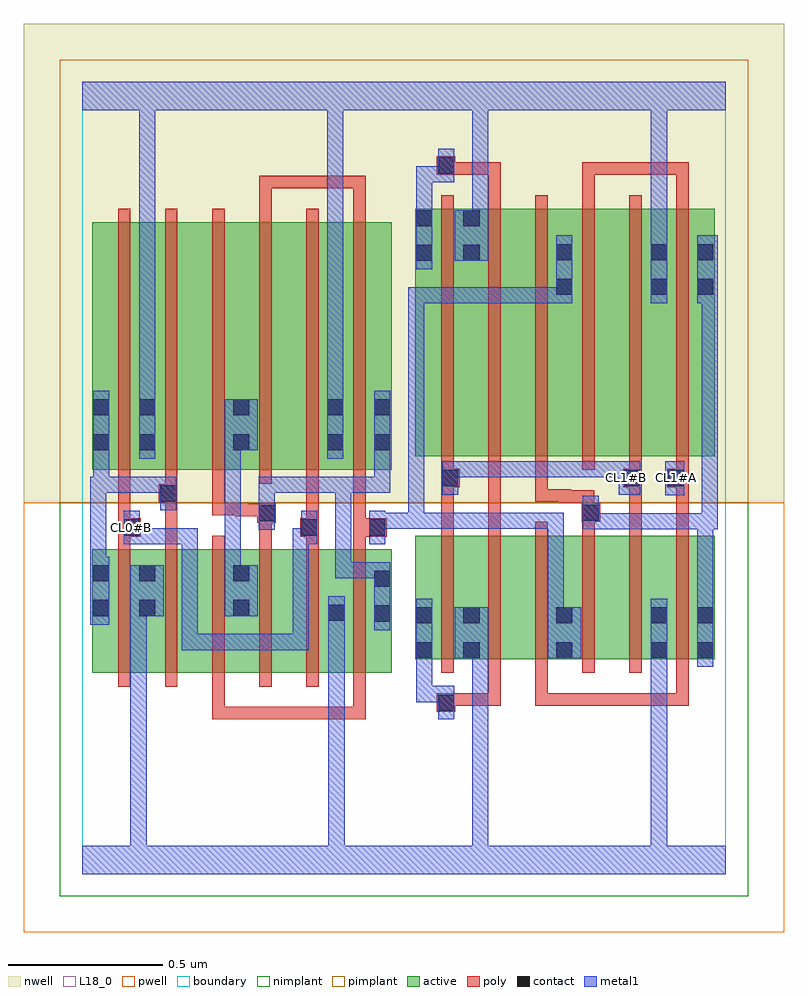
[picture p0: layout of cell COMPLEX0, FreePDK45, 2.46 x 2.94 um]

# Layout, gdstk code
import gdstk
lib = gdstk.Library(unit=1e-6, precision=1e-09)
def R(c, l, rs):  # rectangles x0, y0, x1, y1
    for r in rs: c.add(gdstk.rectangle(r[:2], r[2:], *l))
def A(c, l, x, y, w, h, nx, ny, dx, dy):  # array of equal rectangles
    R(c, l, [(x+i*dx, y+j*dy, x+i*dx+w, y+j*dy+h) for i in range(nx) for j in range(ny)])
active = (1, 0)
pwell = (2, 0)
nwell = (3, 0)
nimplant = (4, 0)
pimplant = (5, 0)
poly = (9, 0)
contact = (10, 0)
metal1 = (11, 0)
L18_0 = (18, 0)
boundary = (235, 0)

complex0 = lib.new_cell('COMPLEX0')
R(complex0, active, [(0.032,0.65,0.092,1.05), (0.032,0.65,0.24,1.05), (0.18,0.65,0.24,1.05), (0.18,0.65,0.364,1.05), (0.364,0.65,0.544,1.05), (0.484,0.65,0.544,1.05), (0.484,0.65,0.668,1.05), (0.668,0.65,0.852,1.05), (0.792,0.65,0.852,1.05), (0.792,0.65,1,1.05), (0.94,0.65,1,1.05), (1.076,0.694,1.136,1.094), (1.076,0.694,1.288,1.094), (1.228,0.694,1.288,0.866), (1.228,0.694,1.408,1.094), (1.408,0.694,1.588,1.094), (1.528,0.694,1.588,1.094), (1.528,0.694,1.712,1.094), (1.712,0.694,1.894,1.094), (1.834,0.694,2.044,1.094), (1.834,0.694,1.894,0.866), (1.984,0.694,2.044,1.094), (0.032,1.306,0.092,2.044), (0.032,1.306,0.24,2.106), (0.18,1.306,0.364,2.106), (0.18,1.306,0.24,2.044), (0.364,1.306,0.544,2.106), (0.484,1.306,0.544,2.106), (0.484,1.306,0.668,2.106), (0.668,1.306,0.848,2.106), (0.788,1.306,1,2.106), (0.788,1.306,0.848,2.044), (0.94,1.306,1,2.106), (1.076,1.35,1.136,2.15), (1.076,1.35,1.288,2.15), (1.228,1.35,1.288,2.15), (1.228,1.35,1.408,2.15), (1.408,1.35,1.588,2.15), (1.528,1.35,1.712,2.15), (1.712,1.35,1.894,2.15), (1.834,1.35,1.894,2.15), (1.834,1.35,2.044,2.15), (1.984,1.35,2.044,2.15), (1.528,1.686,1.588,2.15)])
R(complex0, pwell, [(-0.188,-0.188,2.268,1.2)])
R(complex0, nwell, [(-0.188,1.2,2.268,2.748)])
R(complex0, nimplant, [(-0.072,-0.072,2.152,1.2)])
R(complex0, pimplant, [(-0.072,1.2,2.152,2.632)])
A(complex0, poly, 0.116, 0.606, 0.04, 0.488, 6, 1, 0.152, 0)
A(complex0, poly, 1.16, 0.65, 0.04, 0.488, 6, 1, 0.152, 0)
A(complex0, poly, 0.116, 1.262, 0.04, 0.888, 6, 1, 0.152, 0)
A(complex0, poly, 1.16, 1.306, 0.04, 0.888, 6, 1, 0.152, 0)
A(complex0, poly, 1.312, 2.154, 0.04, 0.146, 3, 1, 0.304, 0)
R(complex0, poly, [(0.42,0.5,0.46,0.646), (0.42,0.5,0.46,0.54), (0.42,0.5,0.46,0.54), (0.42,0.5,0.46,0.54), (0.42,0.5,0.638,0.54), (0.598,0.5,0.638,0.54), (0.598,0.5,0.744,0.54), (0.704,0.5,0.744,0.54), (0.704,0.5,0.744,0.54), (0.704,0.5,0.744,0.54), (0.704,0.5,0.916,0.54), (0.876,0.5,0.916,0.646), (0.876,0.5,0.916,0.54), (0.876,0.5,0.916,0.54), (0.876,0.5,0.916,0.54), (1.146,0.524,1.206,0.584), (1.166,0.544,1.206,0.584), (1.166,0.544,1.206,0.584), (1.166,0.544,1.352,0.584), (1.312,0.544,1.352,0.69), (1.312,0.544,1.352,0.584), (1.464,0.544,1.504,0.69), (1.464,0.544,1.504,0.584), (1.464,0.544,1.504,0.584), (1.464,0.544,1.504,0.584), (1.464,0.544,1.682,0.584), (1.642,0.544,1.682,0.584), (1.642,0.544,1.824,0.584), (1.784,0.544,1.824,0.584), (1.784,0.544,1.824,0.584), (1.784,0.544,1.824,0.584), (1.784,0.544,1.96,0.584), (1.92,0.544,1.96,0.69), (1.92,0.544,1.96,0.584), (1.92,0.544,1.96,0.584), (1.92,0.544,1.96,0.584), (0.116,1.054,0.156,1.13), (0.268,1.054,0.308,1.24), (0.572,1.054,0.612,1.176), (0.724,1.054,0.764,1.13), (0.876,1.054,0.916,1.13), (0.116,1.09,0.19,1.15), (0.704,1.09,0.764,1.15), (0.876,1.09,0.984,1.15), (1.16,1.098,1.2,1.29), (1.312,1.098,1.352,1.31), (1.616,1.098,1.656,1.178), (1.768,1.098,1.808,1.29), (1.92,1.098,1.96,1.29), (0.116,1.11,0.156,1.15), (0.116,1.11,0.156,1.15), (0.116,1.11,0.156,1.302), (0.724,1.11,0.764,1.15), (0.724,1.11,0.764,1.15), (0.724,1.11,0.764,1.302), (0.876,1.11,0.916,1.15), (0.876,1.11,0.916,1.15), (0.876,1.11,0.916,1.302), (0.566,1.136,0.626,1.196), (0.572,1.136,0.612,1.176), (0.572,1.136,0.612,1.176), (1.614,1.138,1.674,1.198), (0.496,1.156,0.536,1.2), (0.496,1.156,0.606,1.196), (1.614,1.158,1.654,1.24), (0.42,1.16,0.46,1.2), (0.42,1.16,0.536,1.2), (0.42,1.16,0.46,1.302), (0.248,1.2,0.308,1.26), (0.268,1.2,0.308,1.24), (0.268,1.2,0.308,1.24), (1.54,1.2,1.654,1.24), (1.54,1.2,1.58,1.244), (1.614,1.2,1.654,1.24), (1.464,1.204,1.504,1.244), (1.464,1.204,1.58,1.244), (1.464,1.204,1.504,1.346), (0.268,1.22,0.308,1.302), (1.16,1.25,1.2,1.29), (1.16,1.25,1.2,1.29), (1.16,1.25,1.22,1.31), (1.748,1.25,1.808,1.31), (1.768,1.25,1.808,1.29), (1.768,1.25,1.808,1.29), (1.89,1.25,1.96,1.31), (1.92,1.25,1.96,1.29), (1.92,1.25,1.96,1.29), (1.16,1.27,1.2,1.346), (1.312,1.27,1.352,1.31), (1.312,1.27,1.352,1.31), (1.312,1.27,1.352,1.31), (1.312,1.27,1.352,1.346), (1.768,1.27,1.808,1.346), (1.92,1.27,1.96,1.346), (0.572,2.11,0.612,2.256), (0.876,2.11,0.916,2.256), (0.572,2.216,0.612,2.256), (0.572,2.216,0.81,2.256), (0.77,2.216,0.81,2.256), (0.77,2.216,0.81,2.256), (0.77,2.216,0.81,2.256), (0.77,2.216,0.916,2.256), (0.876,2.216,0.916,2.256), (0.876,2.216,0.916,2.256), (0.876,2.216,0.916,2.256), (1.146,2.26,1.206,2.32), (1.166,2.26,1.206,2.3), (1.166,2.26,1.206,2.3), (1.166,2.26,1.352,2.3), (1.312,2.26,1.352,2.3), (1.616,2.26,1.656,2.3), (1.616,2.26,1.824,2.3), (1.784,2.26,1.824,2.3), (1.784,2.26,1.824,2.3), (1.784,2.26,1.824,2.3), (1.784,2.26,1.96,2.3), (1.92,2.26,1.96,2.3), (1.92,2.26,1.96,2.3), (1.92,2.26,1.96,2.3)])
A(complex0, contact, 0.184, 1.37, 0.052, 0.052, 3, 2, 0.304, 0.112)
R(complex0, contact, [(1.15,0.528,1.202,0.58), (1.08,0.698,1.132,0.75), (1.232,0.698,1.284,0.75), (1.532,0.698,1.584,0.75), (1.838,0.698,1.89,0.75), (1.988,0.698,2.04,0.75), (1.08,0.81,1.132,0.862), (1.232,0.81,1.284,0.862), (1.532,0.81,1.584,0.862), (1.838,0.81,1.89,0.862), (1.988,0.81,2.04,0.862), (0.944,0.816,0.996,0.868), (0.796,0.818,0.848,0.87), (0.036,0.834,0.088,0.886), (0.184,0.834,0.236,0.886), (0.488,0.834,0.54,0.886), (0.944,0.928,0.996,0.98), (0.036,0.946,0.088,0.998), (0.184,0.946,0.236,0.998), (0.488,0.946,0.54,0.998), (0.134,1.094,0.186,1.146), (0.708,1.094,0.76,1.146), (0.928,1.094,0.98,1.146), (0.57,1.14,0.622,1.192), (1.618,1.142,1.67,1.194), (0.252,1.204,0.304,1.256), (1.164,1.254,1.216,1.306), (1.752,1.254,1.804,1.306), (1.894,1.254,1.946,1.306), (0.036,1.37,0.088,1.422), (0.944,1.37,0.996,1.422), (0.036,1.482,0.088,1.534), (0.944,1.482,0.996,1.534), (1.532,1.872,1.584,1.924), (1.838,1.872,1.89,1.924), (1.988,1.872,2.04,1.924), (1.08,1.982,1.132,2.034), (1.232,1.982,1.284,2.034), (1.532,1.984,1.584,2.036), (1.838,1.984,1.89,2.036), (1.988,1.984,2.04,2.036), (1.08,2.094,1.132,2.146), (1.232,2.094,1.284,2.146), (1.15,2.264,1.202,2.316)])
R(complex0, metal1, [(0,0,2.08,0.092), (0.156,0.04,0.208,0.092), (0.156,0.04,0.208,0.092), (0.156,0.04,0.208,0.092), (0.156,0.04,0.208,0.092), (0.156,0.04,0.208,0.092), (0.156,0.04,0.208,0.092), (0.156,0.04,0.208,0.092), (0.156,0.04,0.208,0.092), (0.156,0.04,0.208,0.092), (0.156,0.04,0.208,0.092), (0.156,0.04,0.208,0.092), (0.156,0.04,0.208,0.092), (0.156,0.04,0.208,0.886), (0.796,0.04,0.848,0.092), (0.796,0.04,0.848,0.092), (0.796,0.04,0.848,0.092), (0.796,0.04,0.848,0.092), (0.796,0.04,0.848,0.092), (0.796,0.04,0.848,0.092), (0.796,0.04,0.848,0.092), (0.796,0.04,0.848,0.092), (0.796,0.04,0.848,0.842), (1.26,0.04,1.312,0.092), (1.26,0.04,1.312,0.092), (1.26,0.04,1.312,0.092), (1.26,0.04,1.312,0.092), (1.26,0.04,1.312,0.092), (1.26,0.04,1.312,0.092), (1.26,0.04,1.312,0.092), (1.26,0.04,1.312,0.092), (1.26,0.04,1.312,0.092), (1.26,0.04,1.312,0.092), (1.26,0.04,1.312,0.092), (1.26,0.04,1.312,0.092), (1.26,0.04,1.312,0.75), (1.838,0.04,1.89,0.092), (1.838,0.04,1.89,0.092), (1.838,0.04,1.89,0.092), (1.838,0.04,1.89,0.092), (1.838,0.04,1.89,0.092), (1.838,0.04,1.89,0.092), (1.838,0.04,1.89,0.092), (1.838,0.04,1.89,0.092), (1.838,0.04,1.89,0.092), (1.838,0.04,1.89,0.092), (1.838,0.04,1.89,0.722), (1.15,0.5,1.202,0.608), (1.08,0.556,1.132,0.608), (1.08,0.556,1.202,0.608), (1.08,0.556,1.132,0.722), (1.08,0.67,1.132,0.89), (1.838,0.67,1.89,0.722), (1.838,0.67,1.89,0.722), (1.838,0.67,1.89,0.89), (1.988,0.67,2.04,0.89), (1.204,0.698,1.312,0.862), (1.504,0.698,1.612,0.862), (0.322,0.724,0.374,0.776), (0.322,0.724,0.374,0.776), (0.322,0.724,0.374,0.776), (0.322,0.724,0.484,0.776), (0.322,0.724,0.374,1.118), (0.432,0.724,0.484,0.776), (0.432,0.724,0.484,0.776), (0.432,0.724,0.484,0.776), (0.432,0.724,0.65,0.776), (0.598,0.724,0.65,0.776), (0.598,0.724,0.732,0.776), (0.68,0.724,0.732,0.776), (0.68,0.724,0.732,0.776), (0.68,0.724,0.732,0.776), (0.68,0.724,0.732,1.118), (0.944,0.788,0.996,1.008), (0.796,0.79,0.848,0.842), (0.796,0.79,0.848,0.842), (0.796,0.79,0.848,0.842), (0.796,0.79,0.848,0.842), (0.796,0.79,0.848,0.898), (0.026,0.806,0.088,1.026), (1.504,0.81,1.556,1.168), (0.156,0.834,0.264,0.998), (0.46,0.834,0.568,0.998), (1.988,0.838,2.04,1.166), (0.46,0.946,0.512,1.422), (0.818,0.956,0.87,1.008), (0.818,0.956,0.87,1.008), (0.818,0.956,0.87,1.008), (0.818,0.956,0.87,1.008), (0.818,0.956,0.87,1.008), (0.818,0.956,0.87,1.284), (0.818,0.956,0.996,1.008), (0.026,0.974,0.078,1.026), (0.026,0.974,0.078,1.026), (0.026,0.974,0.078,1.284), (0.134,1.066,0.186,1.174), (0.134,1.066,0.198,1.118), (0.146,1.066,0.198,1.118), (0.146,1.066,0.374,1.118), (0.322,1.066,0.374,1.118), (0.322,1.066,0.374,1.118), (0.322,1.066,0.374,1.118), (0.68,1.066,0.732,1.118), (0.68,1.066,0.76,1.118), (0.708,1.066,0.76,1.174), (0.928,1.066,0.98,1.174), (0.57,1.112,0.622,1.228), (1.618,1.114,1.78,1.166), (1.618,1.114,1.67,1.222), (1.728,1.114,1.78,1.166), (1.728,1.114,1.78,1.166), (1.728,1.114,1.78,1.166), (1.728,1.114,1.89,1.166), (1.838,1.114,1.89,1.166), (1.838,1.114,2.04,1.166), (1.988,1.114,2.04,1.166), (1.988,1.114,2.04,1.166), (1.988,1.114,2.054,1.166), (2.002,1.114,2.054,1.896), (2.002,1.114,2.054,1.166), (2.002,1.114,2.054,1.166), (0.928,1.116,0.98,1.168), (0.928,1.116,0.98,1.168), (0.928,1.116,1.106,1.168), (1.054,1.116,1.106,1.168), (1.054,1.116,1.106,1.168), (1.054,1.116,1.106,1.168), (1.054,1.116,1.106,1.168), (1.054,1.116,1.106,1.168), (1.054,1.116,1.242,1.168), (1.054,1.116,1.106,1.896), (1.19,1.116,1.242,1.168), (1.19,1.116,1.446,1.168), (1.394,1.116,1.446,1.168), (1.394,1.116,1.446,1.168), (1.394,1.116,1.446,1.168), (1.394,1.116,1.556,1.168), (1.504,1.116,1.556,1.168), (1.504,1.116,1.556,1.168), (1.504,1.116,1.556,1.168), (0.252,1.176,0.304,1.284), (0.57,1.176,0.622,1.228), (0.57,1.176,0.622,1.284), (1.884,1.224,1.946,1.334), (1.164,1.226,1.216,1.334), (1.734,1.226,1.804,1.334), (0.026,1.232,0.088,1.284), (0.036,1.232,0.088,1.284), (0.036,1.232,0.088,1.284), (0.036,1.232,0.198,1.284), (0.036,1.232,0.088,1.394), (0.146,1.232,0.198,1.284), (0.146,1.232,0.304,1.284), (0.57,1.232,0.76,1.284), (0.708,1.232,0.76,1.284), (0.708,1.232,0.87,1.284), (0.818,1.232,0.87,1.284), (0.818,1.232,0.996,1.284), (0.944,1.232,0.996,1.284), (0.944,1.232,0.996,1.284), (0.944,1.232,0.996,1.284), (0.944,1.232,0.996,1.394), (1.164,1.282,1.336,1.334), (1.284,1.282,1.336,1.334), (1.284,1.282,1.446,1.334), (1.394,1.282,1.446,1.334), (1.394,1.282,1.446,1.334), (1.394,1.282,1.446,1.334), (1.394,1.282,1.56,1.334), (1.508,1.282,1.56,1.334), (1.508,1.282,1.56,1.334), (1.508,1.282,1.56,1.334), (1.508,1.282,1.67,1.334), (1.618,1.282,1.67,1.334), (1.618,1.282,1.67,1.334), (1.618,1.282,1.67,1.334), (1.618,1.282,1.786,1.334), (0.036,1.342,0.088,1.562), (0.184,1.342,0.236,1.562), (0.792,1.342,0.844,1.562), (0.944,1.342,0.996,1.562), (0.46,1.37,0.512,1.422), (0.46,1.37,0.512,1.422), (0.46,1.37,0.512,1.422), (0.46,1.37,0.512,1.422), (0.46,1.37,0.568,1.534), (0.184,1.51,0.236,2.52), (0.792,1.51,0.844,2.52), (1.054,1.844,1.106,1.896), (1.054,1.844,1.106,1.896), (1.054,1.844,1.106,1.896), (1.054,1.844,1.242,1.896), (1.19,1.844,1.242,1.896), (1.19,1.844,1.446,1.896), (1.394,1.844,1.446,1.896), (1.394,1.844,1.446,1.896), (1.394,1.844,1.446,1.896), (1.394,1.844,1.56,1.896), (1.508,1.844,1.56,1.896), (1.508,1.844,1.584,1.896), (1.532,1.844,1.584,2.064), (1.838,1.844,1.89,2.064), (1.988,1.844,2.054,2.064), (1.08,1.954,1.132,2.174), (1.204,1.982,1.312,2.146), (1.838,2.012,1.89,2.52), (1.26,2.094,1.312,2.146), (1.26,2.094,1.312,2.146), (1.26,2.094,1.312,2.146), (1.26,2.094,1.312,2.146), (1.26,2.094,1.312,2.146), (1.26,2.094,1.312,2.146), (1.26,2.094,1.312,2.146), (1.26,2.094,1.312,2.146), (1.26,2.094,1.312,2.52), (1.08,2.122,1.132,2.288), (1.08,2.236,1.132,2.288), (1.08,2.236,1.202,2.288), (1.15,2.236,1.202,2.344), (0,2.468,2.08,2.56), (0.184,2.468,0.236,2.52), (0.184,2.468,0.236,2.52), (0.184,2.468,0.236,2.52), (0.184,2.468,0.236,2.52), (0.184,2.468,0.236,2.52), (0.184,2.468,0.236,2.52), (0.184,2.468,0.236,2.52), (0.184,2.468,0.236,2.52), (0.792,2.468,0.844,2.52), (0.792,2.468,0.844,2.52), (0.792,2.468,0.844,2.52), (0.792,2.468,0.844,2.52), (0.792,2.468,0.844,2.52), (0.792,2.468,0.844,2.52), (0.792,2.468,0.844,2.52), (0.792,2.468,0.844,2.52), (1.838,2.468,1.89,2.52), (1.838,2.468,1.89,2.52), (1.838,2.468,1.89,2.52), (1.838,2.468,1.89,2.52), (1.838,2.468,1.89,2.52), (1.838,2.468,1.89,2.52), (1.838,2.468,1.89,2.52), (1.838,2.468,1.89,2.52)])
R(complex0, L18_0, [(0,0,2.08,0.092), (0.156,0.04,0.208,0.092), (0.156,0.04,0.208,0.092), (0.156,0.04,0.208,0.092), (0.156,0.04,0.208,0.092), (0.156,0.04,0.208,0.092), (0.156,0.04,0.208,0.092), (0.156,0.04,0.208,0.092), (0.156,0.04,0.208,0.092), (0.156,0.04,0.208,0.092), (0.156,0.04,0.208,0.092), (0.156,0.04,0.208,0.092), (0.156,0.04,0.208,0.092), (0.156,0.04,0.208,0.886), (0.796,0.04,0.848,0.092), (0.796,0.04,0.848,0.092), (0.796,0.04,0.848,0.092), (0.796,0.04,0.848,0.092), (0.796,0.04,0.848,0.092), (0.796,0.04,0.848,0.092), (0.796,0.04,0.848,0.092), (0.796,0.04,0.848,0.092), (0.796,0.04,0.848,0.842), (1.26,0.04,1.312,0.092), (1.26,0.04,1.312,0.092), (1.26,0.04,1.312,0.092), (1.26,0.04,1.312,0.092), (1.26,0.04,1.312,0.092), (1.26,0.04,1.312,0.092), (1.26,0.04,1.312,0.092), (1.26,0.04,1.312,0.092), (1.26,0.04,1.312,0.092), (1.26,0.04,1.312,0.092), (1.26,0.04,1.312,0.092), (1.26,0.04,1.312,0.092), (1.26,0.04,1.312,0.75), (1.838,0.04,1.89,0.092), (1.838,0.04,1.89,0.092), (1.838,0.04,1.89,0.092), (1.838,0.04,1.89,0.092), (1.838,0.04,1.89,0.092), (1.838,0.04,1.89,0.092), (1.838,0.04,1.89,0.092), (1.838,0.04,1.89,0.092), (1.838,0.04,1.89,0.092), (1.838,0.04,1.89,0.092), (1.838,0.04,1.89,0.722), (1.838,0.67,1.89,0.722), (1.838,0.67,1.89,0.722), (1.838,0.67,1.89,0.89), (1.204,0.698,1.312,0.862), (0.322,0.724,0.374,0.776), (0.322,0.724,0.374,0.776), (0.322,0.724,0.374,0.776), (0.322,0.724,0.374,1.118), (0.322,0.724,0.484,0.776), (0.432,0.724,0.484,0.776), (0.432,0.724,0.484,0.776), (0.432,0.724,0.484,0.776), (0.432,0.724,0.65,0.776), (0.598,0.724,0.65,0.776), (0.598,0.724,0.732,0.776), (0.68,0.724,0.732,0.776), (0.68,0.724,0.732,0.776), (0.68,0.724,0.732,0.776), (0.68,0.724,0.732,1.118), (0.796,0.79,0.848,0.898), (0.796,0.79,0.848,0.842), (0.796,0.79,0.848,0.842), (0.796,0.79,0.848,0.842), (0.796,0.79,0.848,0.842), (0.156,0.834,0.264,0.998), (0.134,1.066,0.186,1.174), (0.134,1.066,0.198,1.118), (0.146,1.066,0.198,1.118), (0.146,1.066,0.374,1.118), (0.322,1.066,0.374,1.118), (0.322,1.066,0.374,1.118), (0.322,1.066,0.374,1.118), (0.68,1.066,0.732,1.118), (0.68,1.066,0.76,1.118), (0.708,1.066,0.76,1.174), (0.134,1.094,0.186,1.146), (1.884,1.224,1.946,1.334), (1.164,1.226,1.216,1.334), (1.734,1.226,1.804,1.334), (1.734,1.254,1.786,1.306), (1.894,1.254,1.946,1.306), (1.164,1.282,1.336,1.334), (1.284,1.282,1.336,1.334), (1.284,1.282,1.446,1.334), (1.394,1.282,1.446,1.334), (1.394,1.282,1.446,1.334), (1.394,1.282,1.446,1.334), (1.394,1.282,1.56,1.334), (1.508,1.282,1.56,1.334), (1.508,1.282,1.56,1.334), (1.508,1.282,1.56,1.334), (1.508,1.282,1.67,1.334), (1.618,1.282,1.67,1.334), (1.618,1.282,1.67,1.334), (1.618,1.282,1.67,1.334), (1.618,1.282,1.786,1.334), (0.184,1.342,0.236,1.562), (0.792,1.342,0.844,1.562), (0.184,1.51,0.236,2.52), (0.792,1.51,0.844,2.52), (1.838,1.844,1.89,2.064), (1.204,1.982,1.312,2.146), (1.838,2.012,1.89,2.52), (1.26,2.094,1.312,2.146), (1.26,2.094,1.312,2.146), (1.26,2.094,1.312,2.146), (1.26,2.094,1.312,2.146), (1.26,2.094,1.312,2.146), (1.26,2.094,1.312,2.146), (1.26,2.094,1.312,2.146), (1.26,2.094,1.312,2.146), (1.26,2.094,1.312,2.52), (0,2.468,2.08,2.56), (0.184,2.468,0.236,2.52), (0.184,2.468,0.236,2.52), (0.184,2.468,0.236,2.52), (0.184,2.468,0.236,2.52), (0.184,2.468,0.236,2.52), (0.184,2.468,0.236,2.52), (0.184,2.468,0.236,2.52), (0.184,2.468,0.236,2.52), (0.792,2.468,0.844,2.52), (0.792,2.468,0.844,2.52), (0.792,2.468,0.844,2.52), (0.792,2.468,0.844,2.52), (0.792,2.468,0.844,2.52), (0.792,2.468,0.844,2.52), (0.792,2.468,0.844,2.52), (0.792,2.468,0.844,2.52), (1.838,2.468,1.89,2.52), (1.838,2.468,1.89,2.52), (1.838,2.468,1.89,2.52), (1.838,2.468,1.89,2.52), (1.838,2.468,1.89,2.52), (1.838,2.468,1.89,2.52), (1.838,2.468,1.89,2.52), (1.838,2.468,1.89,2.52)])
R(complex0, boundary, [(0,0,2.08,2.56)])
complex0.add(gdstk.Label('CL0#B', (0.16,1.12), layer=11, texttype=0))
complex0.add(gdstk.Label('CL1#A', (1.92,1.28), layer=11, texttype=0))
complex0.add(gdstk.Label('CL1#B', (1.76,1.28), layer=11, texttype=0))

lib.write_gds('COMPLEX0.gds')
